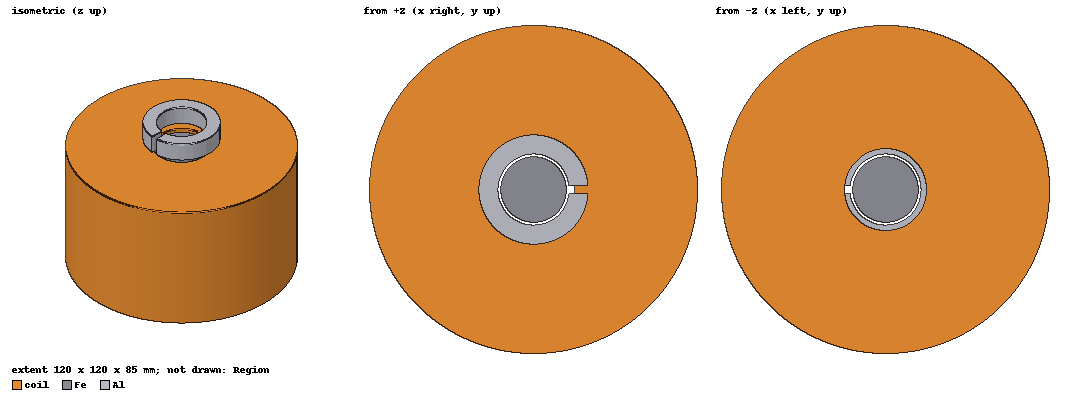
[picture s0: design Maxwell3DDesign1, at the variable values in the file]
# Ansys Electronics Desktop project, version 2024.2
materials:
  vacuum: permittivity=1
  copper: permeability=0.999991 conductivity=58000000
  aluminum: permeability=1.000021 conductivity=38000000
  air: permittivity=1.0006 permeability=1.0000004
  iron: permeability=4000 conductivity=10300000

design Maxwell3DDesign1 (Maxwell 3D, EddyCurrent, model units mm)
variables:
  z_plate = 75mm
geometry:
  Cylinder1 = cylinder(axis=Z, base_centre=(0mm, 0mm, 0mm), radius=15mm, height=70mm)
  coil [copper] = cylinder(axis=Z, base_centre=(0mm, 0mm, 0mm), radius=60mm, height=70mm)
  coil.subtract(Cylinder1)
  Cylinder2_Section1 = coil.section(plane=ZX)
  Cylinder2_Section1_Separate1 = Cylinder2_Section1.separate_bodies()
  Cylinder2 = cylinder(axis=Z, base_centre=(0mm, 0mm, z_plate), radius=13mm, height=10mm)
  Al [aluminum] = cylinder(axis=Z, base_centre=(0mm, 0mm, z_plate), radius=20mm, height=10mm)
  Al.subtract(Cylinder2)
  Box1 = box(corner=(0mm, -1.5mm, 75mm), size=(60mm, 3mm, 10mm))
  Al.subtract(Box1)
  Region [air] = region(percentage_offset=100 on all sides)
  Fe [iron] = cylinder(axis=Z, base_centre=(0mm, 0mm, 0mm), radius=12mm, height=70mm)
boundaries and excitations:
  CoilTerminal1: Coil Terminal Objects=Cylinder2_Section1_Separate1 Conductor_number=730 Winding=Winding1 Point_out_of_terminal=false
  Winding1: Winding Group Type=Current IsSolid=false Current=5A ParallelBranchesNum=1 Phase=0deg
  eddy effects on: coil, Al
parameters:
  Force1: Force Reference_CS=Global Is_Virtual=true Objects=Al
  Matrix1: Matrix Winding1:
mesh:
  initial mesh: GlobalCurvilinear{Apply}
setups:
  Setup1: EddyCurrent MaximumPasses=10 MinimumPasses=2 MinimumConvergedPasses=1 PercentRefinement=30 PercentError=1 NonLinearResidual=0.0001 Frequency=50Hz LossAdaptiveCtrl=0.5
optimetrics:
  ParametricSetup1: Parametric Sim._Setups=[Setup1]
    sweep z_plate: LIN 70.5mm 100mm 0.5mm
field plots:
  Mag_H1: H in Al, coil on Setup1 : LastAdaptive at Freq=50Hz Phase=0deg
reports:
  Table 1: Force_z vs z_plate on Setup1 : AdaptivePass [Freq=all Pass=all]
